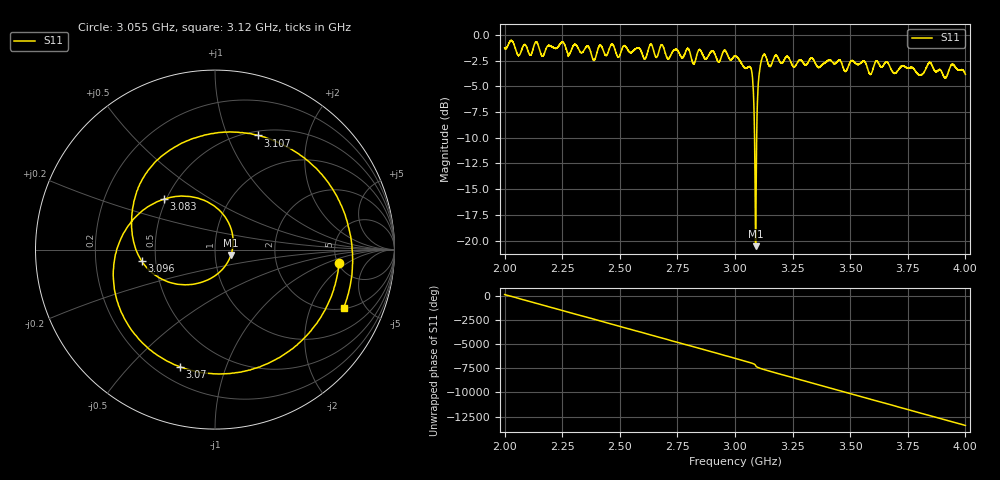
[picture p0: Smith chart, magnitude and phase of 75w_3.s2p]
!Agilent Technologies,E8362B,MY43021131,A.07.50.67
!Agilent E8362B: A.07.50.67
!Date: Thursday, March 14, 2024 13:58:05
!Correction: S11(Off)
!S21(Off)
!S12(Off)
!S22(Off)
!S2P File: Measurements: S11, S21, S12, S22:
# Hz S  RI  R 50
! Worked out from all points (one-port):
!   20001 points, 2 GHz to 4 GHz, reference 50 ohm
!   lowest |S11| = -20.5 dB at 3.089 GHz (marker M1), VSWR 1.21, Z = 59.7 - j3.51 ohm
!   |S11| at or under -10 dB: 3.084883 GHz to 3.094023 GHz (9.14 MHz wide, 0.296 % of centre)
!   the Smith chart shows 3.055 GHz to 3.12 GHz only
!   S11 on the Smith chart (normalised r, x): 3.055 GHz: 5.12, -1.46; 3.07 GHz: 0.29, -0.71; 3.083 GHz: 0.48, +0.32; 3.096 GHz: 0.42, -0.07; 3.107 GHz: 0.55, +1.30; 3.12 GHz: 2.03, -3.49
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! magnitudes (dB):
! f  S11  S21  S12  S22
! 2 GHz  -1.3  -  -  -
! 2.138 GHz  -0.7  -  -  -
! 2.165 GHz  -2.1  -  -  -
! 2.25 GHz  -0.7  -  -  -
! 2.333 GHz  -1.7  -  -  -
! 2.667 GHz  -1.9  -  -  -
! 3 GHz  -2.0  -  -  -
! 3.055 GHz  -3.2  -  -  -
! 3.07 GHz  -3.3  -  -  -
! 3.076 GHz  -4.2  -  -  -
! 3.083 GHz  -7.9  -  -  -
! 3.089 GHz  -20.5  -  -  -
! 3.096 GHz  -7.7  -  -  -
! 3.102 GHz  -4.3  -  -  -
! 3.107 GHz  -3.3  -  -  -
! 3.12 GHz  -2.1  -  -  -
! 3.333 GHz  -2.3  -  -  -
! 3.479 GHz  -3.6  -  -  -
! 3.558 GHz  -2.6  -  -  -
! 3.587 GHz  -3.8  -  -  -
! 3.667 GHz  -2.8  -  -  -
! 4 GHz  -3.9  -  -  -
